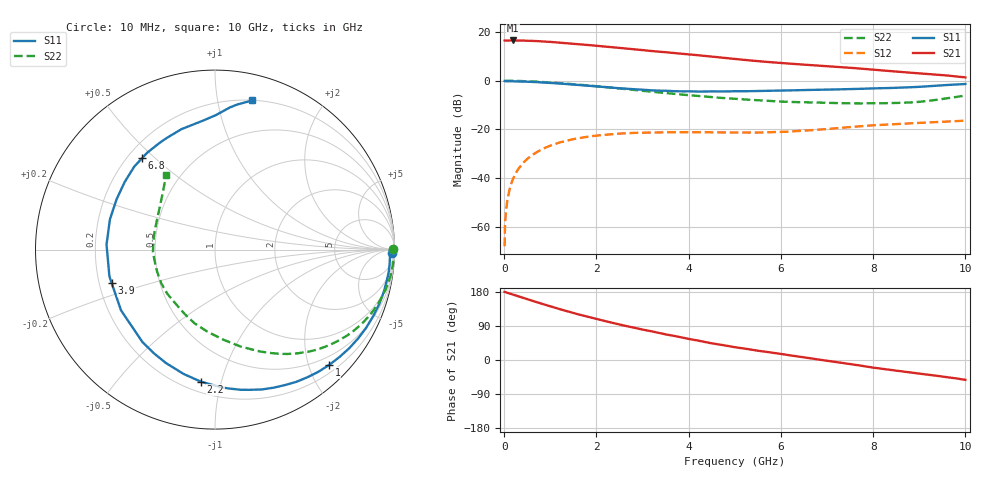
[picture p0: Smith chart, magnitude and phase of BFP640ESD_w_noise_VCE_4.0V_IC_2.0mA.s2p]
! Infineon Technologies  Discrete & RF Semiconductors
! BFP640ESD
! VCE =  4.0 V,  IC =  2.0 mA
! Common Emitter S-Parameters:  Jan 2016
# GHz  S  MA  R  50
!  f  S11  S21  S12  S22
! GHz  MAG  ANG  MAG  ANG  MAG  ANG  MAG  ANG
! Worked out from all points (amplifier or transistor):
!   233 points, 10 MHz to 10 GHz, reference 50 ohm
!   highest |S21| = 16.5 dB at 200 MHz (marker M1)
!   |S21| within 3 dB of that: start of sweep to 2.467 GHz
!   unconditionally stable (mu >= 1): start of sweep to 10.25 MHz; 5.219 GHz to 9.147 GHz
!   at 200 MHz: K = 0.05, MSG = 28.3 dB, |S12| = -40.0 dB
!   at 1.74 GHz: K = 0.25, MSG = 19.0 dB, |S12| = -23.2 dB
!   at 10 GHz: K = 0.72, MSG = 8.9 dB, |S12| = -16.4 dB
!   lowest NFmin = 0.58 dB at 450 MHz
!   S11 on the Smith chart (normalised r, x): 10 MHz: 51, -63; 1 GHz: 0.33, -2.36; 2.2 GHz: 0.27, -0.86; 3.9 GHz: 0.25, -0.15; 6.8 GHz: 0.26, +0.46; 10 GHz: 0.20, +1.26
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0.01  0.9845 -1.1  6.708 179.8  0.0004 14.9  0.9919 0.3
0.02  0.9773 -1.0  6.664 179.7  0.0012 75.6  0.9982 -0.4
0.06  0.9754 -3.0  6.671 177.5  0.003 83.7  0.9968 -1.6
0.13  0.9762 -6.0  6.711 175.1  0.0065 82.7  0.9957 -3.4
0.2  0.9742 -9.2  6.721 172.4  0.01 82.3  0.9941 -5.3
0.5  0.9564 -22.8  6.641 160.6  0.0247 74.8  0.9766 -13.2
0.72  0.936 -32.8  6.51 152.1  0.0347 68.6  0.9554 -18.8
1  0.9041 -45.3  6.277 141.7  0.0464 61.2  0.9216 -25.8
1.3  0.8647 -58.5  5.985 130.9  0.0572 53.5  0.8793 -32.9
1.68  0.8098 -74.7  5.576 118.2  0.0678 44.8  0.8206 -41.1
1.9  0.7801 -83.8  5.339 111.4  0.0727 40.4  0.7873 -45.5
2.2  0.7405 -96.0  5.025 102.3  0.0781 34.7  0.7411 -51.2
2.8  0.6708 -120.4  4.438 85.5  0.0848 24.9  0.6483 -62.5
3.4  0.6241 -143.2  3.919 70.4  0.087 17.7  0.5704 -73.1
3.9  0.6051 -161.9  3.555 58.3  0.0877 13.5  0.5151 -82.4
4.5  0.605 177.3  3.142 44.0  0.0874 9.6  0.4597 -95.2
5.1  0.6086 161.8  2.742 32.1  0.0863 8.2  0.4198 -107.2
6  0.6285 143.2  2.317 15.8  0.0885 9.4  0.3734 -125.7
6.8  0.6513 128.6  2.048 1.7  0.0987 10.1  0.355 -144.1
7.8  0.6854 109.5  1.754 -16.2  0.1177 6.4  0.3424 -171.4
8.4  0.7108 98.5  1.571 -26.5  0.1274 2.1  0.3476 169.5
10  0.8572 75.9  1.17 -52.3  0.1513 -9.7  0.4964 123.2
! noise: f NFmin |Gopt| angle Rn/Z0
0.45  0.58  0.67  11  0.24
0.9  0.61  0.63  24  0.22
1.9  0.75  0.52  52  0.19
2.4  0.85  0.47  72  0.17
5.5  1.42  0.4  -153  0.18
10  3.03  0.7  -84  1.7
